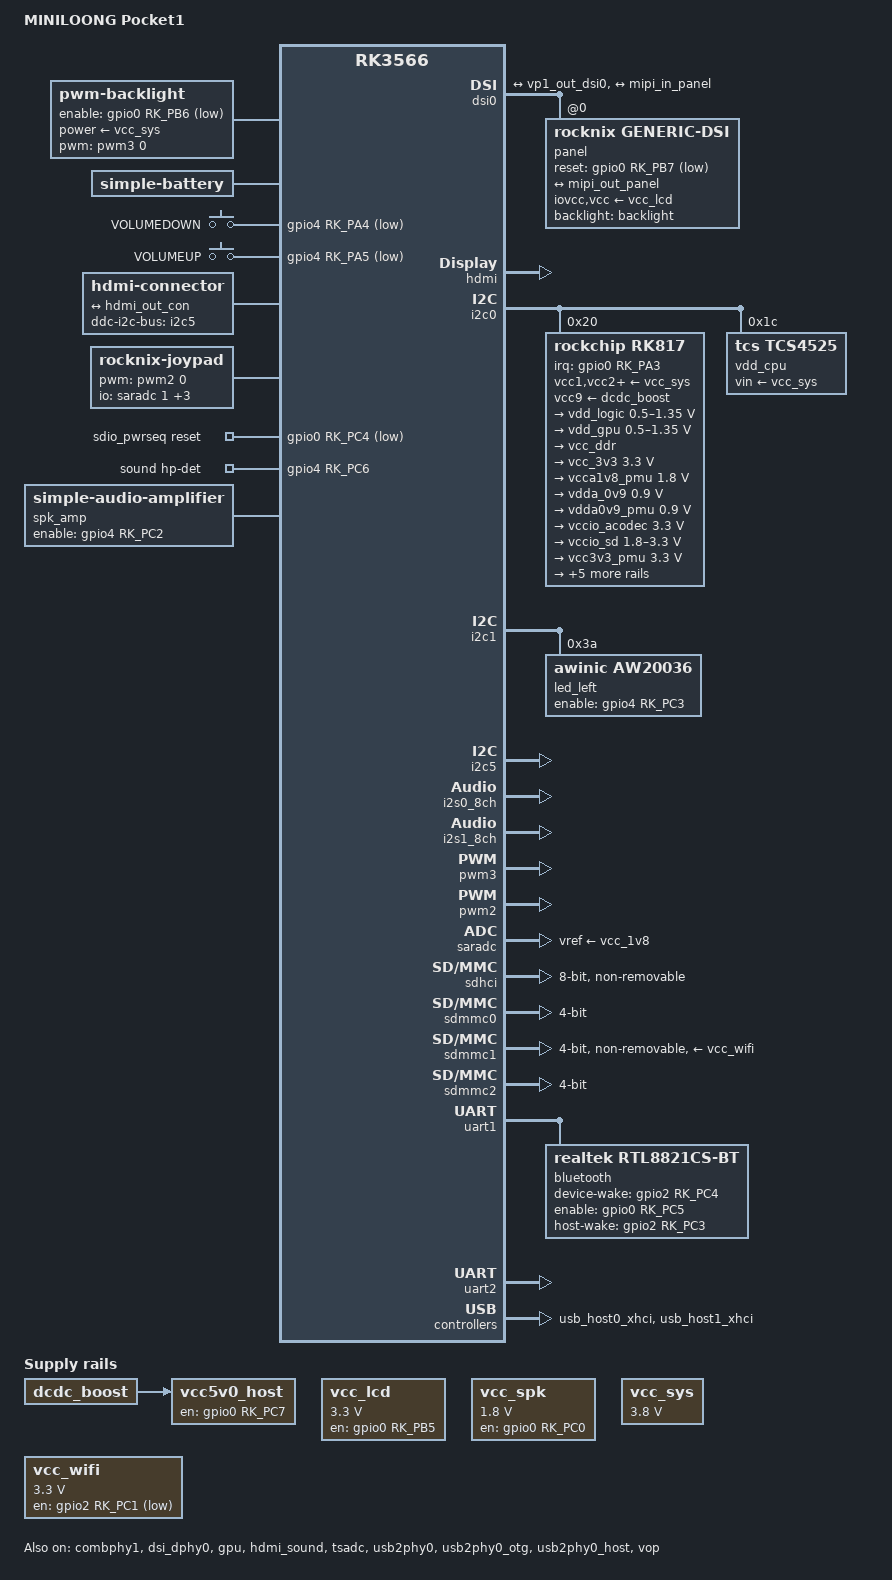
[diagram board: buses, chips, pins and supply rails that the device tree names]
// SPDX-License-Identifier: (GPL-2.0+ OR MIT)

/dts-v1/;

#include <dt-bindings/gpio/gpio.h>
#include <dt-bindings/input/linux-event-codes.h>
#include <dt-bindings/leds/common.h>
#include <dt-bindings/pinctrl/rockchip.h>
#include <dt-bindings/soc/rockchip,vop2.h>
#include "rk3566.dtsi"

/ {
	model = "MINILOONG Pocket1";
	chassis-type = "handset";
	compatible = "powkiddy,x55", "rockchip,rk3566";

	aliases {
		mmc0 = &sdhci;
		mmc1 = &sdmmc0;
		mmc2 = &sdmmc2;
		mmc3 = &sdmmc1;
	};

	chosen: chosen {
		stdout-path = "serial2:1500000n8";
	};

	backlight: backlight {
		compatible = "pwm-backlight";
		power-supply = <&vcc_sys>;
		enable-gpios = <&gpio0 RK_PB6 GPIO_ACTIVE_LOW>;
		pwms = <&pwm3 0 25000 0>;
		brightness-levels = <
			  0   1   2   3   4   5   6   7
			  8   9  10  11  12  13  14  15
			 16  17  18  19  20  21  22  23
			 24  25  26  27  28  29  30  31
			 32  33  34  35  36  37  38  39
			 40  41  42  43  44  45  46  47
			 48  49  50  51  52  53  54  55
			 56  57  58  59  60  61  62  63
			 64  65  66  67  68  69  70  71
			 72  73  74  75  76  77  78  79
			 80  81  82  83  84  85  86  87
			 88  89  90  91  92  93  94  95
			 96  97  98  99 100 101 102 103
			104 105 106 107 108 109 110 111
			112 113 114 115 116 117 118 119
			120 121 122 123 124 125 126 127
			128 129 130 131 132 133 134 135
			136 137 138 139 140 141 142 143
			144 145 146 147 148 149 150 151
			152 153 154 155 156 157 158 159
			160 161 162 163 164 165 166 167
			168 169 170 171 172 173 174 175
			176 177 178 179 180 181 182 183
			184 185 186 187 188 189 190 191
			192 193 194 195 196 197 198 199
			200 201 202 203 204 205 206 207
			208 209 210 211 212 213 214 215
			216 217 218 219 220 221 222 223
			224 225 226 227 228 229 230 231
			232 233 234 235 236 237 238 239
			240 241 242 243 244 245 246 247
			248 249 250 251 252 253 254 255>;
		default-brightness-level = <77>;
	};

	battery: battery {
		compatible = "simple-battery";
		charge-full-design-microamp-hours = <4000000>;
		charge-term-current-microamp = <300000>;
		constant-charge-current-max-microamp = <2000000>;
		constant-charge-voltage-max-microvolt = <4300000>;
		factory-internal-resistance-micro-ohms = <91000>;
		voltage-max-design-microvolt = <4138000>;
		voltage-min-design-microvolt = <3400000>;

		ocv-capacity-celsius = <20>;
		ocv-capacity-table-0 =  <4138000 100>, <4083000 95>, <4059000 90>, <4044000 85>,
					<4030000 80>, <4020000 75>, <4006000 70>, <3972000 65>,
					<3934000 60>, <3904000 55>, <3878000 50>, <3857000 45>,
					<3843000 40>, <3826000 35>, <3801000 30>, <3768000 25>,
					<3735000 20>, <3688000 15>, <3621000 10>, <3553000 5>,
					<3400000 0>;
	};

	gpio_keys_vol: gpio-keys-vol {
		compatible = "gpio-keys";
		autorepeat;
		pinctrl-0 = <&btn_pins_vol>;
		pinctrl-names = "default";

		button-voldown {
			gpios = <&gpio4 RK_PA4 GPIO_ACTIVE_LOW>;
			label = "VOLUMEDOWN";
			linux,code = <KEY_VOLUMEDOWN>;
		};

		button-volup {
			gpios = <&gpio4 RK_PA5 GPIO_ACTIVE_LOW>;
			label = "VOLUMEUP";
			linux,code = <KEY_VOLUMEUP>;
		};
	};

	hdmi-con {
		compatible = "hdmi-connector";
		ddc-i2c-bus = <&i2c5>;
		type = "c";

		port {
			hdmi_con_in: endpoint {
				remote-endpoint = <&hdmi_out_con>;
			};
		};
	};

	joypad: rocknix-joypad {
		compatible = "rocknix-joypad";
		status = "okay";

		/* the following 4 dts entries starting from joypad-name are important to keep
		   compatibility with existing userspace programs such as ES and retroarch */
		joypad-name = "retrogame_joypad";
		joypad-product = <0x1101>;
		joypad-revision = <0x0100>;
		joypad-vendor = <0x484B>;

		pwms = <&pwm2 0 1000000000 0>;
		pwm-names = "enable";

		/* analog mux define */
		io-channel-names = "key-RY", "key-RX", "key-LY", "key-LX";
		io-channels = <&saradc 1>,<&saradc 0>,<&saradc 2>, <&saradc 3>;

		/* gpio pincontrol setup */
		pinctrl-names = "default";
		pinctrl-0 = <&btn_pins_ctrl>;

		/* adc calculate scale */
		button-adc-scale = <2>;

		/* adc deadzone range (minimum should be around 12%) */
		button-adc-deadzone = <206>;

		/* specifies fuzz value that is used to filter noise from
		   the event stream. (around 3%) */
		button-adc-fuzz = <54>;
		button-adc-flat = <54>;

		/* analog Stick data tuning value(precent)
		   p = positive direction, n = negative direction
		   report value = (real_adc_data * tuning_value) / 100 */
		abs_x-p-tuning = <280>;
		abs_x-n-tuning = <280>;

		abs_y-p-tuning = <280>;
		abs_y-n-tuning = <280>;

		abs_rx-p-tuning = <180>;
		abs_rx-n-tuning = <180>;

		abs_ry-p-tuning = <180>;
		abs_ry-n-tuning = <180>;

		invert-absx;
		invert-absy;

		/* poll device interval (ms), adc read interval */
		poll-interval = <10>;

		/* gpio button auto repeat set value : default disable */
		/* autorepeat; */

		/*    *** Powkiddy X55 Switch layout ***
		|------------------------------------------------|
		| sw15                                      sw13 |
		| sw16                                      sw14 |
		|------------------------------------------------|
		|                                                |
		|   Analog     |-------------------|             |
		|    sw11      |                   |      sw8    |
		|              |                   |   sw7   sw5 |
		|              |    LCD Display    |      sw6    |
		|     sw1      |                   |             |
		|  sw3  sw4    |                   |    Analog   |
		|     sw2      |-------------------|     sw12    |
		|                                                |
		| sw9 Vol+                           Vol- sw10   |
		|                                                |
		|------------------------------------------------| */

		sw1 {
			gpios = <&gpio3 RK_PD1 GPIO_ACTIVE_LOW>;
			label = "GPIO DPAD-UP";
			linux,code = <BTN_DPAD_UP>;
		};
		sw2 {
			gpios = <&gpio3 RK_PC6 GPIO_ACTIVE_LOW>;
			label = "GPIO DPAD-DOWN";
			linux,code = <BTN_DPAD_DOWN>;
		};
		sw3 {
			gpios = <&gpio3 RK_PC7 GPIO_ACTIVE_LOW>;
			label = "GPIO DPAD-LEFT";
			linux,code = <BTN_DPAD_LEFT>;
		};
		sw4 {
			gpios = <&gpio3 RK_PD0 GPIO_ACTIVE_LOW>;
			label = "GPIO DPAD-RIGHT";
			linux,code = <BTN_DPAD_RIGHT>;
		};
		sw5 {
			gpios = <&gpio3 RK_PD3 GPIO_ACTIVE_LOW>;
			label = "GPIO BTN-A";
			linux,code = <BTN_EAST>;
		};
		sw6 {
			gpios = <&gpio3 RK_PD5 GPIO_ACTIVE_LOW> ;
			label = "GPIO BTN-B";
			linux,code = <BTN_SOUTH>;
		};
		sw7 {
			gpios = <&gpio3 RK_PD2 GPIO_ACTIVE_LOW>;
			label = "GPIO BTN-Y";
			linux,code = <BTN_WEST>;
		};
		sw8 {
			gpios = <&gpio3 RK_PD4 GPIO_ACTIVE_LOW>;
			label = "GPIO BTN-X";
			linux,code = <BTN_NORTH>;
		};
		sw9 {
			gpios = <&gpio4 RK_PA2 GPIO_ACTIVE_LOW>;
			label = "BTN_SELECT";
			linux,code = <BTN_SELECT>;
		};
		sw10 {
			gpios = <&gpio4 RK_PA3 GPIO_ACTIVE_LOW>;
			label = "BTN_START";
			linux,code = <BTN_START>;
		};
		/* this sw11 entry is SPECIAL, most RK3566 devices do not have
		   this physical button but for the sake of keeping compatibility
		   with ES and retroarch, this phantom button and offset will
		   allow existing userspace programs to work without doing any
		   new remapping thus saving lots of headaches and extra work */
		sw11 {
			gpios = <&gpio4 RK_PA6 GPIO_ACTIVE_LOW>;
			label = "GPIO BTN_F";
			linux,code = <BTN_MODE>;
		};
		sw12 {
			gpios = <&gpio2 RK_PC5 GPIO_ACTIVE_LOW>;
			label = "BTN_THUMBL";
			linux,code = <BTN_THUMBL>;
		};
		sw13 {
			gpios = <&gpio4 RK_PA7 GPIO_ACTIVE_LOW>;
			label = "BTN_THUMBR";
			linux,code = <BTN_THUMBR>;
		};
		sw14 {
			gpios = <&gpio4 RK_PA0 GPIO_ACTIVE_LOW>;
			label = "GPIO BTN_TR";
			linux,code = <BTN_TR>;
		};
		sw15 {
			gpios = <&gpio4 RK_PA1 GPIO_ACTIVE_LOW>;
			label = "GPIO BTN_TR2";
			linux,code = <BTN_TR2>;
		};
		sw16 {
			gpios = <&gpio3 RK_PD6 GPIO_ACTIVE_LOW>;
			label = "GPIO BTN_TL";
			linux,code = <BTN_TL>;
		};
		sw17 {
			gpios = <&gpio3 RK_PD7 GPIO_ACTIVE_LOW>;
			label = "GPIO BTN_TL2";
			linux,code = <BTN_TL2>;
		};
	};

	sdio_pwrseq: sdio-pwrseq {
		compatible = "mmc-pwrseq-simple";
		clocks = <&rk817 1>;
		clock-names = "ext_clock";
		pinctrl-0 = <&wifi_enable_h>;
		pinctrl-names = "default";
		post-power-on-delay-ms = <200>;
		reset-gpios = <&gpio0 RK_PC4 GPIO_ACTIVE_LOW>;
	};

	/* Channels reversed for both headphones and speakers. */
	sound {
		compatible = "simple-audio-card";
		pinctrl-0 = <&hp_det>;
		pinctrl-names = "default";
		simple-audio-card,name = "rk817_ext";
		simple-audio-card,aux-devs = <&spk_amp>;
		simple-audio-card,format = "i2s";
		simple-audio-card,hp-det-gpios = <&gpio4 RK_PC6 GPIO_ACTIVE_HIGH>;
		simple-audio-card,mclk-fs = <256>;
		simple-audio-card,widgets =
			"Microphone", "Mic Jack",
			"Headphone", "Headphones",
			"Speaker", "Internal Speakers";
		simple-audio-card,routing =
			"MICL", "Mic Jack",
			"Headphones", "HPOL",
			"Headphones", "HPOR",
			"Internal Speakers", "Speaker Amp OUTL",
			"Internal Speakers", "Speaker Amp OUTR",
			"Speaker Amp INL", "HPOL",
			"Speaker Amp INR", "HPOR";
		simple-audio-card,pin-switches = "Internal Speakers";

		simple-audio-card,codec {
			sound-dai = <&rk817>;
		};

		simple-audio-card,cpu {
			sound-dai = <&i2s1_8ch>;
		};
	};

	spk_amp: audio-amplifier {
		compatible = "simple-audio-amplifier";
		enable-gpios = <&gpio4 RK_PC2 GPIO_ACTIVE_HIGH>;
		pinctrl-0 = <&spk_amp_enable_h>;
		pinctrl-names = "default";
		sound-name-prefix = "Speaker Amp";
	};

	vcc5v0_host: regulator-vcc5v0-host {
		compatible = "regulator-fixed";
		enable-active-high;
		gpio = <&gpio0 RK_PC7 GPIO_ACTIVE_HIGH>;
		pinctrl-0 = <&vcc5v0_host_en>;
		pinctrl-names = "default";
		regulator-name = "vcc5v0_host";
		vin-supply = <&dcdc_boost>;
	};

	vcc_lcd: regulator-vcc-lcd {
		compatible = "regulator-fixed";
		enable-active-high;
		gpio = <&gpio0 RK_PB5 GPIO_ACTIVE_HIGH>;
		pinctrl-0 = <&vcc_lcd_en>;
		pinctrl-names = "default";
		regulator-min-microvolt = <3300000>;
		regulator-max-microvolt = <3300000>;
		regulator-name = "vcc_lcd";
	};

	vcc_spk: regulator-vcc-spk {
		compatible = "regulator-fixed";
		enable-active-high;
		regulator-always-on;
		regulator-boot-on;
		gpio = <&gpio0 RK_PC0 GPIO_ACTIVE_HIGH>;
		pinctrl-0 = <&vcc_spk_en>;
		pinctrl-names = "default";
		post-power-on-delay-ms = <200>;
		regulator-min-microvolt = <1800000>;
		regulator-max-microvolt = <1800000>;
		regulator-name = "vcc_spk";
		regulator-state-mem {
			regulator-off-in-suspend;
		};
	};

	vcc_sys: regulator-vcc-sys {
		compatible = "regulator-fixed";
		regulator-always-on;
		regulator-boot-on;
		regulator-min-microvolt = <3800000>;
		regulator-max-microvolt = <3800000>;
		regulator-name = "vcc_sys";
	};

	vcc_wifi: regulator-vcc-wifi {
		compatible = "regulator-fixed";
		gpio = <&gpio2 RK_PC1 GPIO_ACTIVE_LOW>;
		pinctrl-0 = <&vcc_wifi_h>;
		pinctrl-names = "default";
		regulator-min-microvolt = <3300000>;
		regulator-max-microvolt = <3300000>;
		regulator-name = "vcc_wifi";
	};
/*
	vibrator:vibrator {
		compatible = "pwm-vibrator";
		pwms = <&pwm2 0 1000000 0>;
		pwm-names = "enable";
	};*/
};

&combphy1 {
	status = "okay";
};

&cru {
	assigned-clocks = <&pmucru CLK_RTC_32K>, <&cru PLL_GPLL>,
			  <&pmucru PLL_PPLL>, <&cru PLL_VPLL>;
	assigned-clock-rates = <32768>, <1200000000>,
			       <200000000>, <126400000>;
};

&cpu0 {
	cpu-supply = <&vdd_cpu>;
};

&cpu1 {
	cpu-supply = <&vdd_cpu>;
};

&cpu2 {
	cpu-supply = <&vdd_cpu>;
};

&cpu3 {
	cpu-supply = <&vdd_cpu>;
};

&dsi_dphy0 {
	status = "okay";
};

&dsi0 {
	status = "okay";
	#address-cells = <1>;
	#size-cells = <0>;

	ports {
		dsi0_in: port@0 {
			reg = <0>;
			dsi0_in_vp1: endpoint {
				remote-endpoint = <&vp1_out_dsi0>;
			};
		};

		dsi0_out: port@1 {
			reg = <1>;
			mipi_out_panel: endpoint {
				remote-endpoint = <&mipi_in_panel>;
			};
		};
	};

	panel: panel@0 {
		compatible = "rocknix,generic-dsi";
		reg = <0>;
		backlight = <&backlight>;
		iovcc-supply = <&vcc_lcd>;
		pinctrl-names = "default";
		pinctrl-0 = <&lcd_rst>;
		reset-gpios = <&gpio0 RK_PB7 GPIO_ACTIVE_LOW>;
		rotation = <270>;
		vcc-supply = <&vcc_lcd>;
		panel_description =
                "G size=229,143 delays=120,120,120,120,20 format=rgb888 lanes=4 flags=0xa03",

                "M clock=46014 horizontal=720,150,14,20 vertical=960,30,8,20 default=1",
                "M clock=47000 horizontal=720,15,15,20 vertical=960,30,212,20",
                "M clock=47000 horizontal=720,15,45,20 vertical=960,30,165,20",
                "M clock=47090 horizontal=720,15,41,20 vertical=960,30,173,20",
                "M clock=47150 horizontal=720,15,45,20 vertical=960,30,15,20",
                "M clock=53130 horizontal=720,15,35,20 vertical=960,30,116,20",
                "M clock=47400 horizontal=720,15,15,20 vertical=960,30,17,20",
                "M clock=47430 horizontal=720,15,20,20 vertical=960,30,10,20",
                "M clock=49150 horizontal=720,15,39,20 vertical=960,30,20,20",
                "M clock=72110 horizontal=720,15,34,20 vertical=960,30,201,20",
                "M clock=72540 horizontal=720,15,20,20 vertical=960,30,30,20",
                "M clock=94710 horizontal=720,15,15,20 vertical=960,30,15,20",

                "I seq=ff988103",
                "I seq=0100", "I seq=0200", "I seq=0372", "I seq=0400", "I seq=0500", "I seq=0609", "I seq=0700",
                "I seq=0800", "I seq=0901", "I seq=0a00", "I seq=0b00", "I seq=0c01", "I seq=0d00", "I seq=0e00", "I seq=0f00",
                "I seq=1000", "I seq=1100", "I seq=1200", "I seq=1300", "I seq=1400", "I seq=1500", "I seq=1600", "I seq=1700",
                "I seq=1800", "I seq=1900", "I seq=1a00", "I seq=1b00", "I seq=1c00", "I seq=1d00", "I seq=1e40", "I seq=1f80",
                "I seq=2005", "I seq=2102", "I seq=2200", "I seq=2300", "I seq=2400", "I seq=2500", "I seq=2600", "I seq=2700",
                "I seq=2833", "I seq=2902", "I seq=2a00", "I seq=2b00", "I seq=2c00", "I seq=2d00", "I seq=2e00", "I seq=2f00",
                "I seq=3100", "I seq=3200", "I seq=3300", "I seq=3404", "I seq=3500", "I seq=3600", "I seq=3700",
                "I seq=383c", "I seq=3900", "I seq=3a40", "I seq=3b40", "I seq=3c00", "I seq=3d00", "I seq=3e00", "I seq=3f00",
                "I seq=4000", "I seq=4100", "I seq=4200", "I seq=4300", "I seq=4400",
                "I seq=5001", "I seq=5123", "I seq=5245", "I seq=5367", "I seq=5489", "I seq=55ab", "I seq=5601", "I seq=5723",
                "I seq=5845", "I seq=5967", "I seq=5a89", "I seq=5bab", "I seq=5ccd", "I seq=5def", "I seq=5e11", "I seq=5f01",
                "I seq=6000", "I seq=6115", "I seq=6214", "I seq=630e", "I seq=640f", "I seq=650c", "I seq=660d", "I seq=6706",
                "I seq=6802", "I seq=6907", "I seq=6a02", "I seq=6b02", "I seq=6c02", "I seq=6d02", "I seq=6e02", "I seq=6f02",
                "I seq=7002", "I seq=7102", "I seq=7202", "I seq=7302", "I seq=7402", "I seq=7501", "I seq=7600", "I seq=7714",
                "I seq=7815", "I seq=790e", "I seq=7a0f", "I seq=7b0c", "I seq=7c0d", "I seq=7d06", "I seq=7e02", "I seq=7f07",
                "I seq=8002", "I seq=8102", "I seq=8202", "I seq=8302", "I seq=8402", "I seq=8502", "I seq=8602", "I seq=8702",
                "I seq=8802", "I seq=8902", "I seq=8a02",
                "I seq=ff988104",
                "I seq=3801", "I seq=3900",
                "I seq=6c15", "I seq=6e2a", "I seq=6f34",
                "I seq=3a94",
                "I seq=8d14",
                "I seq=87ba",
                "I seq=2676",
                "I seq=b2d1", "I seq=b506",
                "I seq=3b98",
                "I seq=ff988101",
                "I seq=2209",
                "I seq=2e78",
                "I seq=3100",
                "I seq=5390", "I seq=55a2", "I seq=50b7", "I seq=51b7",
                "I seq=6022", "I seq=6100", "I seq=6219", "I seq=6310",
                "I seq=a008", "I seq=a11a", "I seq=a227", "I seq=a315", "I seq=a417", "I seq=a52a", "I seq=a61e", "I seq=a71f",
                "I seq=a88b", "I seq=a91b", "I seq=aa27", "I seq=ab78", "I seq=ac18", "I seq=ad18", "I seq=ae4c", "I seq=af21",
                "I seq=b027", "I seq=b154", "I seq=b267", "I seq=b339",
                "I seq=c008", "I seq=c11a", "I seq=c227", "I seq=c315", "I seq=c417", "I seq=c52a", "I seq=c61e", "I seq=c71f",
                "I seq=c88b", "I seq=c91b", "I seq=ca27", "I seq=cb78", "I seq=cc18", "I seq=cd18", "I seq=ce4c", "I seq=cf21",
                "I seq=d027", "I seq=d154", "I seq=d267", "I seq=d339",
                "I seq=ff988100",
                "I seq=3500",
                "I seq=11 wait=200",
                "I seq=29 wait=40";

		port {
			mipi_in_panel: endpoint {
				remote-endpoint = <&mipi_out_panel>;
			};
		};
	};
};

&gpu {
	mali-supply = <&vdd_gpu>;
	status = "okay";
};

&hdmi {
	ddc-i2c-bus = <&i2c5>;
	pinctrl-0 = <&hdmitxm0_cec>;
	pinctrl-names = "default";
	status = "okay";
};

&hdmi_in {
	hdmi_in_vp0: endpoint {
		remote-endpoint = <&vp0_out_hdmi>;
	};
};

&hdmi_out {
	hdmi_out_con: endpoint {
		remote-endpoint = <&hdmi_con_in>;
	};
};

&hdmi_sound {
	status = "okay";
};

&i2c0 {
	status = "okay";

	rk817: pmic@20 {
		compatible = "rockchip,rk817";
		reg = <0x20>;
		assigned-clocks = <&cru I2S1_MCLKOUT_TX>;
		assigned-clock-parents = <&cru CLK_I2S1_8CH_TX>;
		clock-names = "mclk";
		clock-output-names = "rk808-clkout1", "rk808-clkout2";
		clocks = <&cru I2S1_MCLKOUT_TX>;
		interrupt-parent = <&gpio0>;
		interrupts = <RK_PA3 IRQ_TYPE_LEVEL_LOW>;
		pinctrl-names = "default";
		pinctrl-0 = <&i2s1m0_mclk>, <&pmic_int_l>;
		wakeup-source;
		#clock-cells = <1>;
		#sound-dai-cells = <0>;

		vcc1-supply = <&vcc_sys>;
		vcc2-supply = <&vcc_sys>;
		vcc3-supply = <&vcc_sys>;
		vcc4-supply = <&vcc_sys>;
		vcc5-supply = <&vcc_sys>;
		vcc6-supply = <&vcc_sys>;
		vcc7-supply = <&vcc_sys>;
		vcc8-supply = <&vcc_sys>;
		vcc9-supply = <&dcdc_boost>;

		regulators {
			vdd_logic: DCDC_REG1 {
				regulator-always-on;
				regulator-boot-on;
				regulator-min-microvolt = <500000>;
				regulator-max-microvolt = <1350000>;
				regulator-ramp-delay = <6001>;
				regulator-initial-mode = <0x2>;
				regulator-name = "vdd_logic";
				regulator-state-mem {
					regulator-off-in-suspend;
					regulator-suspend-microvolt = <900000>;
				};
			};

			vdd_gpu: DCDC_REG2 {
				regulator-always-on;
				regulator-boot-on;
				regulator-min-microvolt = <500000>;
				regulator-max-microvolt = <1350000>;
				regulator-ramp-delay = <6001>;
				regulator-initial-mode = <0x2>;
				regulator-name = "vdd_gpu";
				regulator-state-mem {
					regulator-off-in-suspend;
				};
			};

			vcc_ddr: DCDC_REG3 {
				regulator-always-on;
				regulator-boot-on;
				regulator-initial-mode = <0x2>;
				regulator-name = "vcc_ddr";
				regulator-state-mem {
					regulator-on-in-suspend;
				};
			};

			vcc_3v3: DCDC_REG4 {
				regulator-always-on;
				regulator-boot-on;
				regulator-min-microvolt = <3300000>;
				regulator-max-microvolt = <3300000>;
				regulator-initial-mode = <0x2>;
				regulator-name = "vcc_3v3";
				regulator-state-mem {
					regulator-on-in-suspend;
					regulator-suspend-microvolt = <3300000>;
				};
			};

			vcca1v8_pmu: LDO_REG1 {
				regulator-always-on;
				regulator-boot-on;
				regulator-min-microvolt = <1800000>;
				regulator-max-microvolt = <1800000>;
				regulator-name = "vcca1v8_pmu";
				regulator-state-mem {
					regulator-on-in-suspend;
					regulator-suspend-microvolt = <1800000>;
				};
			};

			vdda_0v9: LDO_REG2 {
				regulator-always-on;
				regulator-boot-on;
				regulator-min-microvolt = <900000>;
				regulator-max-microvolt = <900000>;
				regulator-name = "vdda_0v9";
				regulator-state-mem {
					regulator-off-in-suspend;
				};
			};

			vdda0v9_pmu: LDO_REG3 {
				regulator-always-on;
				regulator-boot-on;
				regulator-min-microvolt = <900000>;
				regulator-max-microvolt = <900000>;
				regulator-name = "vdda0v9_pmu";
				regulator-state-mem {
					regulator-on-in-suspend;
					regulator-suspend-microvolt = <900000>;
				};
			};

			vccio_acodec: LDO_REG4 {
				regulator-always-on;
				regulator-boot-on;
				regulator-min-microvolt = <3300000>;
				regulator-max-microvolt = <3300000>;
				regulator-name = "vccio_acodec";
				regulator-state-mem {
					regulator-off-in-suspend;
				};
			};

			vccio_sd: LDO_REG5 {
				regulator-always-on;
				regulator-boot-on;
				regulator-min-microvolt = <1800000>;
				regulator-max-microvolt = <3300000>;
				regulator-name = "vccio_sd";
				regulator-state-mem {
					regulator-off-in-suspend;
				};
			};

			vcc3v3_pmu: LDO_REG6 {
				regulator-always-on;
				regulator-boot-on;
				regulator-min-microvolt = <3300000>;
				regulator-max-microvolt = <3300000>;
				regulator-name = "vcc3v3_pmu";
				regulator-state-mem {
					regulator-on-in-suspend;
					regulator-suspend-microvolt = <3300000>;
				};
			};

			vcc_1v8: LDO_REG7 {
				regulator-always-on;
				regulator-boot-on;
				regulator-min-microvolt = <1800000>;
				regulator-max-microvolt = <1800000>;
				regulator-name = "vcc_1v8";
				regulator-state-mem {
					regulator-off-in-suspend;
				};
			};

			vcc1v8_dvp: LDO_REG8 {
				regulator-always-on;
				regulator-boot-on;
				regulator-min-microvolt = <1800000>;
				regulator-max-microvolt = <1800000>;
				regulator-name = "vcc1v8_dvp";
				regulator-state-mem {
					regulator-on-in-suspend;
				};
			};

			vcc2v8_dvp: LDO_REG9 {
				regulator-always-on;
				regulator-boot-on;
				regulator-min-microvolt = <1800000>;
				regulator-max-microvolt = <3300000>;
				regulator-name = "vcc2v8_dvp";
				regulator-state-mem {
					regulator-off-in-suspend;
				};
			};

			dcdc_boost: BOOST {
				regulator-min-microvolt = <4700000>;
				regulator-max-microvolt = <5400000>;
				regulator-name = "boost";
				regulator-state-mem {
					regulator-off-in-suspend;
				};
			};

			otg_switch: OTG_SWITCH {
				regulator-name = "otg_switch";
				regulator-state-mem {
					regulator-off-in-suspend;
				};
			};
		};

		rk817_charger: charger {
			monitored-battery = <&battery>;
			rockchip,resistor-sense-micro-ohms = <10000>;
			rockchip,sleep-enter-current-microamp = <150000>;
			rockchip,sleep-filter-current-microamp = <100000>;
		};

	};

	vdd_cpu: regulator@1c {
		compatible = "tcs,tcs4525";
		reg = <0x1c>;
		fcs,suspend-voltage-selector = <1>;
		regulator-always-on;
		regulator-boot-on;
		regulator-min-microvolt = <712500>;
		regulator-max-microvolt = <1390000>;
		regulator-name = "vdd_cpu";
		regulator-ramp-delay = <2300>;
		vin-supply = <&vcc_sys>;
		regulator-state-mem {
			regulator-off-in-suspend;
		};
	};
};

&i2c1 {
	status = "okay";
	led_left: led-controller@3a {
		compatible = "awinic,aw20036";
		reg = <0x3a>;
		enable-gpios = <&gpio4 RK_PC3 GPIO_ACTIVE_HIGH>;
		status = "okay";
		#address-cells = <1>;
		#size-cells = <0>;
		led@1 {
			reg = <1>;
			led-max-microamp = <5000>;
			label = "awinic1";
		};
		led@2 {
			reg = <2>;
			led-max-microamp = <5000>;
			label = "awinic2";
		};
		led@3 {
			reg = <3>;
			led-max-microamp = <5000>;
			label = "awinic3";
		};
		led@4 {
			reg = <4>;
			led-max-microamp = <5000>;
			label = "awinic4";
		};
		led@5 {
			reg = <5>;
			led-max-microamp = <5000>;
			label = "awinic5";
		};
		led@6 {
			reg = <6>;
			led-max-microamp = <5000>;
			label = "awinic6";
		};
		led@7 {
			reg = <7>;
			led-max-microamp = <5000>;
			label = "awinic7";
		};
		led@8 {
			reg = <8>;
			led-max-microamp = <5000>;
			label = "awinic8";
		};
		led@9 {
			reg = <9>;
			led-max-microamp = <5000>;
			label = "awinic9";
		};
		led@10 {
			reg = <10>;
			led-max-microamp = <5000>;
			label = "awinic10";
		};
		led@11 {
			reg = <11>;
			led-max-microamp = <5000>;
			label = "awinic11";
		};
		led@12 {
			reg = <12>;
			led-max-microamp = <5000>;
			label = "awinic12";
		};
		led@13 {
			reg = <13>;
			led-max-microamp = <5000>;
			label = "awinic13";
		};
		led@14 {
			reg = <14>;
			led-max-microamp = <5000>;
			label = "awinic14";
		};
		led@15 {
			reg = <15>;
			led-max-microamp = <5000>;
			label = "awinic15";
		};
		led@16 {
			reg = <16>;
			led-max-microamp = <5000>;
			label = "awinic16";
		};
		led@17 {
			reg = <17>;
			led-max-microamp = <5000>;
			label = "awinic17";
		};
		led@18 {
			reg = <18>;
			led-max-microamp = <5000>;
			label = "awinic18";
		};
		led@19 {
			reg = <19>;
			led-max-microamp = <5000>;
			label = "awinic19";
		};
		led@20 {
			reg = <20>;
			led-max-microamp = <5000>;
			label = "awinic20";
		};
		led@21 {
			reg = <21>;
			led-max-microamp = <5000>;
			label = "awinic21";
		};
		led@22 {
			reg = <22>;
			led-max-microamp = <5000>;
			label = "awinic22";
		};
		led@23 {
			reg = <23>;
			led-max-microamp = <5000>;
			label = "awinic23";
		};
		led@24 {
			reg = <24>;
			led-max-microamp = <5000>;
			label = "awinic24";
		};
		led@25 {
			reg = <25>;
			led-max-microamp = <5000>;
			label = "awinic25";
		};
		led@26 {
			reg = <26>;
			led-max-microamp = <5000>;
			label = "awinic26";
		};
		led@27 {
			reg = <27>;
			led-max-microamp = <5000>;
			label = "awinic27";
		};
		led@28 {
			reg = <28>;
			led-max-microamp = <5000>;
			label = "awinic28";
		};
		led@29 {
			reg = <29>;
			led-max-microamp = <5000>;
			label = "awinic29";
		};
		led@30 {
			reg = <30>;
			led-max-microamp = <5000>;
			label = "awinic30";
		};
		led@31 {
			reg = <31>;
			led-max-microamp = <5000>;
			label = "awinic31";
		};
		led@32 {
			reg = <32>;
			led-max-microamp = <5000>;
			label = "awinic32";
		};
	};
};

&i2c5 {
	pinctrl-0 = <&i2c5m1_xfer>;
	pinctrl-names = "default";
	status = "okay";
};

&i2s0_8ch {
	status = "okay";
};

&i2s1_8ch {
	pinctrl-0 = <&i2s1m0_sclktx>, <&i2s1m0_lrcktx>, <&i2s1m0_sdi0>,
		    <&i2s1m0_sdo0>;
	pinctrl-names = "default";
	rockchip,trcm-sync-tx-only;
	status = "okay";
};

&pinctrl {
	audio-amplifier {
		spk_amp_enable_h: spk-amp-enable-h {
			rockchip,pins =
				<4 RK_PC2 RK_FUNC_GPIO &pcfg_pull_none>;
		};
	};

	gpio-control {
		btn_pins_ctrl: btn-pins-ctrl {
			rockchip,pins =
				<3 RK_PD1 RK_FUNC_GPIO &pcfg_pull_up>,
				<3 RK_PC6 RK_FUNC_GPIO &pcfg_pull_up>,
				<3 RK_PC7 RK_FUNC_GPIO &pcfg_pull_up>,
				<3 RK_PD0 RK_FUNC_GPIO &pcfg_pull_up>,
				<3 RK_PD3 RK_FUNC_GPIO &pcfg_pull_up>,
				<3 RK_PD5 RK_FUNC_GPIO &pcfg_pull_up>,
				<3 RK_PD2 RK_FUNC_GPIO &pcfg_pull_up>,
				<3 RK_PD4 RK_FUNC_GPIO &pcfg_pull_up>,
				<4 RK_PA2 RK_FUNC_GPIO &pcfg_pull_up>,
				<4 RK_PA3 RK_FUNC_GPIO &pcfg_pull_up>,
				<4 RK_PA6 RK_FUNC_GPIO &pcfg_pull_up>,
				<4 RK_PA7 RK_FUNC_GPIO &pcfg_pull_up>,
				<2 RK_PC5 RK_FUNC_GPIO &pcfg_pull_up>,
				<4 RK_PA0 RK_FUNC_GPIO &pcfg_pull_up>,
				<4 RK_PA1 RK_FUNC_GPIO &pcfg_pull_up>,
				<3 RK_PD6 RK_FUNC_GPIO &pcfg_pull_up>,
				<3 RK_PD7 RK_FUNC_GPIO &pcfg_pull_up>;
		};

		btn_pins_vol: btn-pins-vol {
			rockchip,pins =
				<4 RK_PA4 RK_FUNC_GPIO &pcfg_pull_up>,
				<4 RK_PA5 RK_FUNC_GPIO &pcfg_pull_up>;
		};
	};

	gpio-lcd {
		lcd_rst: lcd-rst {
			rockchip,pins =
				<0 RK_PD5 RK_FUNC_GPIO &pcfg_pull_none>;
		};
	};

	hp-detect {
		hp_det: hp-det {
			rockchip,pins =
				<4 RK_PC6 RK_FUNC_GPIO &pcfg_pull_up>;
		};
	};

	pmic {
		pmic_int_l: pmic-int-l {
			rockchip,pins =
				<0 RK_PA3 RK_FUNC_GPIO &pcfg_pull_up>;
		};
	};

	sdio-pwrseq {
		wifi_enable_h: wifi-enable-h {
			rockchip,pins =
				<0 RK_PC4 RK_FUNC_GPIO &pcfg_pull_none>;
		};
	};

	usb {
		vcc5v0_host_en: vcc5v0-host-en {
			rockchip,pins =
				<0 RK_PC7 RK_FUNC_GPIO &pcfg_pull_up>;
		};

		/*vcc5v0_otg_en: vcc5v0-otg-en {
			rockchip,pins =
				<0 RK_PC0 RK_FUNC_GPIO &pcfg_pull_up>;
		};*/
	};

	vcc-lcd {
		vcc_lcd_en: vcc-lcd-en {
			rockchip,pins =
				<0 RK_PB5 RK_FUNC_GPIO &pcfg_pull_none>;
		};
	};

	vcc-spk {
		vcc_spk_en: vcc-spk-en {
			rockchip,pins =
				<0 RK_PC0 RK_FUNC_GPIO &pcfg_pull_none>;
		};
	};

	vcc-wifi {
		vcc_wifi_h: vcc-wifi-h {
			rockchip,pins =
				<2 RK_PC1 RK_FUNC_GPIO &pcfg_pull_none>;
		};
	};
};

&pmu_io_domains {
	status = "okay";
	pmuio1-supply = <&vcc3v3_pmu>;
	pmuio2-supply = <&vcca1v8_pmu>;
	vccio1-supply = <&vccio_acodec>;
	vccio3-supply = <&vccio_sd>;
	vccio4-supply = <&vcca1v8_pmu>;
	vccio5-supply = <&vcc2v8_dvp>;
	vccio6-supply = <&vcc1v8_dvp>;
	vccio7-supply = <&vcc_3v3>;
};

&pwm3 {
	status = "okay";
};

&pwm2 {
	status = "okay";
};

&saradc {
	vref-supply = <&vcc_1v8>;
	status = "okay";
};

&sdhci {
	bus-width = <8>;
	mmc-hs200-1_8v;
	non-removable;
	pinctrl-0 = <&emmc_bus8>, <&emmc_clk>, <&emmc_cmd>,
		    <&emmc_datastrobe>, <&emmc_rstnout>;
	pinctrl-names = "default";
	status = "okay";
};

&sdmmc0 {
	bus-width = <4>;
	cap-mmc-highspeed;
	cap-sd-highspeed;
	disable-wp;
	pinctrl-0 = <&sdmmc0_bus4>, <&sdmmc0_clk>, <&sdmmc0_cmd>,
		    <&sdmmc0_det>;
	pinctrl-names = "default";
	sd-uhs-sdr104;
	vqmmc-supply = <&vccio_sd>;
	status = "okay";
};

&sdmmc1 {
	bus-width = <4>;
	cap-sd-highspeed;
	cap-sdio-irq;
	keep-power-in-suspend;
	mmc-pwrseq = <&sdio_pwrseq>;
	non-removable;
	pinctrl-0 = <&sdmmc1_bus4>, <&sdmmc1_cmd>, <&sdmmc1_clk>;
	pinctrl-names = "default";
	vmmc-supply = <&vcc_wifi>;
	no-mmc;
	no-sd;
	sd-uhs-sdr50;
	status = "okay";
};

&sdmmc2 {
	bus-width = <4>;
	cap-mmc-highspeed;
	cap-sd-highspeed;
	disable-wp;
	pinctrl-0 = <&sdmmc2m1_bus4>, <&sdmmc2m1_cmd>, <&sdmmc2m1_clk>,
		    <&sdmmc2m1_det>;
	pinctrl-names = "default";
	sd-uhs-sdr104;
	vqmmc-supply = <&vcc2v8_dvp>;
	status = "okay";
};

&tsadc {
	rockchip,hw-tshut-mode = <1>;
	rockchip,hw-tshut-polarity = <0>;
	status = "okay";
};

&uart1 {
	pinctrl-0 = <&uart1m0_xfer>, <&uart1m0_ctsn>, <&uart1m0_rtsn>;
	pinctrl-names = "default";
	uart-has-rtscts;
	status = "okay";

	bluetooth {
		compatible = "realtek,rtl8821cs-bt", "realtek,rtl8723bs-bt";
		device-wake-gpios = <&gpio2 RK_PC4 GPIO_ACTIVE_HIGH>;
		enable-gpios = <&gpio0 RK_PC5 GPIO_ACTIVE_HIGH>;
		host-wake-gpios = <&gpio2 RK_PC3 GPIO_ACTIVE_HIGH>;
	};
};

&uart2 {
	status = "okay";
};

&usb_host0_xhci {
	/*phys = <&usb2phy0_otg>;*/
	phy-names = "usb2-phy";
	status = "okay";
};

&usb_host1_xhci {
	status = "okay";
};

&usb2phy0 {
	status = "okay";
};

&usb2phy0_otg {
	status = "okay";
};

&usb2phy0_host {
	phy-supply = <&vcc5v0_host>;
	status = "okay";
};

&vop {
	assigned-clocks = <&cru DCLK_VOP0>, <&cru DCLK_VOP1>;
	assigned-clock-parents = <&pmucru PLL_HPLL>, <&cru PLL_VPLL>;
	status = "okay";
};

&vop_mmu {
	status = "okay";
};

&vp0 {
	vp0_out_hdmi: endpoint@ROCKCHIP_VOP2_EP_HDMI0 {
		reg = <ROCKCHIP_VOP2_EP_HDMI0>;
		remote-endpoint = <&hdmi_in_vp0>;
	};
};

&vp1 {
	vp1_out_dsi0: endpoint@ROCKCHIP_VOP2_EP_MIPI0 {
		reg = <ROCKCHIP_VOP2_EP_MIPI0>;
		remote-endpoint = <&dsi0_in_vp1>;
	};
};
